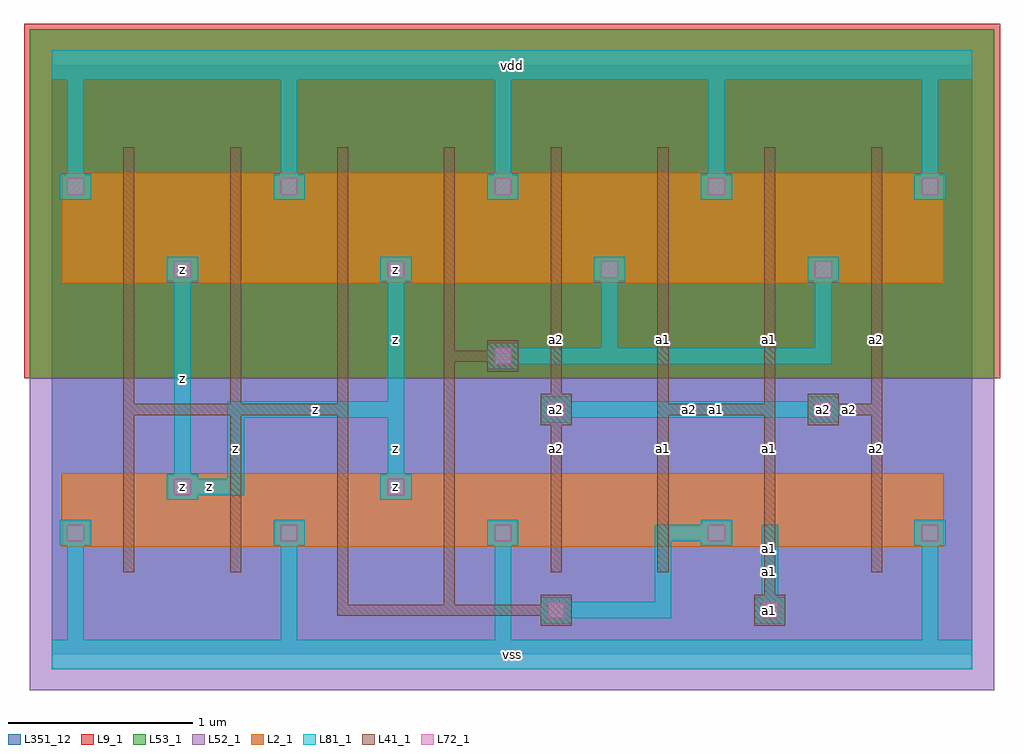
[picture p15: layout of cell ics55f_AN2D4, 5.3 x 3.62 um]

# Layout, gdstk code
import gdstk
lib = gdstk.Library(unit=1e-6, precision=1e-09)
def R(c, l, rs):  # rectangles x0, y0, x1, y1
    for r in rs: c.add(gdstk.rectangle(r[:2], r[2:], *l))
def A(c, l, x, y, w, h, nx, ny, dx, dy):  # array of equal rectangles
    R(c, l, [(x+i*dx, y+j*dy, x+i*dx+w, y+j*dy+h) for i in range(nx) for j in range(ny)])
def P(c, l, *ps):  # polygons
    for p in ps: c.add(gdstk.Polygon(p, *l))
L0_0 = (0, 0)
L2_1 = (2, 1)
L9_1 = (9, 1)
L41_1 = (41, 1)
L52_1 = (52, 1)
L53_1 = (53, 1)
L72_1 = (72, 1)
L81_1 = (81, 1)
L351_12 = (351, 12)

ics55f_an2d4 = lib.new_cell('ics55f_AN2D4')
A(ics55f_an2d4, L2_1, 0.055, 0.585, 0.73, 0.4, 8, 1, 0.58, 0)
A(ics55f_an2d4, L2_1, 0.055, 0.585, 0.15, 0.15, 5, 2, 1.16, 1.88)
A(ics55f_an2d4, L2_1, 0.055, 2.015, 0.73, 0.6, 8, 1, 0.58, 0)
A(ics55f_an2d4, L2_1, 0.635, 2.015, 0.15, 0.15, 4, 1, 1.16, 0)
R(ics55f_an2d4, L2_1, [(0.635,0.835,0.785,0.985), (1.795,0.835,1.945,0.985)])
R(ics55f_an2d4, L9_1, [(-0.15,1.5,5.15,3.425)])
A(ics55f_an2d4, L41_1, 0.39, 0.445, 0.06, 0.68, 8, 1, 0.58, 0)
A(ics55f_an2d4, L41_1, 2.71, 0.88, 0.06, 0.48, 4, 1, 0.58, 0)
A(ics55f_an2d4, L41_1, 0.39, 1.3, 0.06, 0.82, 3, 1, 0.58, 0)
A(ics55f_an2d4, L41_1, 2.71, 1.3, 0.06, 0.82, 4, 1, 0.58, 0)
A(ics55f_an2d4, L41_1, 0.39, 1.875, 0.06, 0.88, 8, 1, 0.58, 0)
R(ics55f_an2d4, L41_1, [(2.655,0.155,2.825,0.325), (3.815,0.155,3.985,0.325), (1.55,0.21,2.77,0.27), (1.55,0.21,1.61,1.36), (1.55,0.21,1.61,0.69), (2.13,0.21,2.19,0.69), (3.87,0.21,3.93,0.94), (2.13,0.63,2.19,2.12), (0.39,0.88,0.45,1.36), (0.97,0.88,1.03,1.36), (2.655,1.245,2.825,1.415), (4.105,1.245,4.275,1.415), (0.39,1.3,1.61,1.36), (3.29,1.3,3.93,1.36), (4.16,1.3,4.51,1.36), (2.365,1.535,2.535,1.705), (2.13,1.59,2.48,1.65)])
R(ics55f_an2d4, L52_1, [(-0.12,-0.195,5.12,1.5)])
R(ics55f_an2d4, L53_1, [(-0.12,1.5,5.12,3.395)])
A(ics55f_an2d4, L72_1, 0.085, 0.615, 0.09, 0.09, 5, 2, 1.16, 1.88)
A(ics55f_an2d4, L72_1, 0.665, 2.045, 0.09, 0.09, 4, 1, 1.16, 0)
R(ics55f_an2d4, L72_1, [(2.695,0.195,2.785,0.285), (3.855,0.195,3.945,0.285), (0.665,0.865,0.755,0.955), (1.825,0.865,1.915,0.955), (2.695,1.285,2.785,1.375), (4.145,1.285,4.235,1.375), (2.405,1.575,2.495,1.665)])
P(ics55f_an2d4, L81_1, [(3.815,0.17),(3.815,0.31),(3.855,0.31),(3.855,0.705),(3.945,0.705),(3.945,0.31),(3.985,0.31),(3.985,0.17)],
  [(2.655,0.17),(2.655,0.31),(2.825,0.31),(2.825,0.285),(3.275,0.285),(3.275,0.705),(3.525,0.705),(3.525,0.73),(3.695,0.73),(3.695,0.59),(3.525,0.59),(3.525,0.615),(3.365,0.615),(3.365,0.195),(2.825,0.195),(2.825,0.17)],
  [(0,-0.08),(0,0.08),(0.085,0.08),(0.085,0.59),(0.045,0.59),(0.045,0.73),(0.215,0.73),(0.215,0.59),(0.175,0.59),(0.175,0.08),(1.245,0.08),(1.245,0.59),(1.205,0.59),(1.205,0.73),(1.375,0.73),(1.375,0.59),(1.335,0.59),(1.335,0.08),(2.405,0.08),(2.405,0.59),(2.365,0.59),(2.365,0.73),(2.535,0.73),(2.535,0.59),(2.495,0.59),(2.495,0.08),(4.725,0.08),(4.725,0.59),(4.685,0.59),(4.685,0.73),(4.855,0.73),(4.855,0.59),(4.815,0.59),(4.815,0.08),(5,0.08),(5,-0.08)],
  [(2.655,1.26),(2.655,1.4),(2.825,1.4),(2.825,1.375),(4.105,1.375),(4.105,1.4),(4.275,1.4),(4.275,1.26),(4.105,1.26),(4.105,1.285),(2.825,1.285),(2.825,1.26)],
  [(0.625,0.84),(0.625,0.98),(0.665,0.98),(0.665,2.02),(0.625,2.02),(0.625,2.16),(0.795,2.16),(0.795,2.02),(0.755,2.02),(0.755,0.98),(0.795,0.98),(0.795,0.955),(0.955,0.955),(0.955,1.375),(1.825,1.375),(1.825,2.02),(1.785,2.02),(1.785,2.16),(1.955,2.16),(1.955,2.02),(1.915,2.02),(1.915,0.98),(1.955,0.98),(1.955,0.84),(1.785,0.84),(1.785,0.98),(1.825,0.98),(1.825,1.285),(1.045,1.285),(1.045,0.865),(0.795,0.865),(0.795,0.84)],
  [(2.365,1.55),(2.365,1.69),(2.535,1.69),(2.535,1.665),(2.985,1.665),(2.985,2.02),(2.945,2.02),(2.945,2.16),(3.115,2.16),(3.115,2.02),(3.075,2.02),(3.075,1.665),(4.145,1.665),(4.145,2.02),(4.105,2.02),(4.105,2.16),(4.275,2.16),(4.275,2.02),(4.235,2.02),(4.235,1.575),(2.535,1.575),(2.535,1.55)],
  [(0.045,2.47),(0.045,2.61),(0.085,2.61),(0.085,3.12),(0,3.12),(0,3.28),(5,3.28),(5,3.12),(4.815,3.12),(4.815,2.61),(4.855,2.61),(4.855,2.47),(4.685,2.47),(4.685,2.61),(4.725,2.61),(4.725,3.12),(3.655,3.12),(3.655,2.61),(3.695,2.61),(3.695,2.47),(3.525,2.47),(3.525,2.61),(3.565,2.61),(3.565,3.12),(2.495,3.12),(2.495,2.61),(2.535,2.61),(2.535,2.47),(2.365,2.47),(2.365,2.61),(2.405,2.61),(2.405,3.12),(1.335,3.12),(1.335,2.61),(1.375,2.61),(1.375,2.47),(1.205,2.47),(1.205,2.61),(1.245,2.61),(1.245,3.12),(0.175,3.12),(0.175,2.61),(0.215,2.61),(0.215,2.47)])
R(ics55f_an2d4, L351_12, [(0,0,5,3.2)])
ics55f_an2d4.add(gdstk.FlexPath([(0.045,0.24),(4.855,0.24)], 0, ends="flush", simple_path=True, layer=0, datatype=0))  # L0_0
ics55f_an2d4.add(gdstk.FlexPath([(0.045,0.66),(4.855,0.66)], 0, ends="flush", simple_path=True, layer=0, datatype=0))  # L0_0
ics55f_an2d4.add(gdstk.FlexPath([(0.045,0.91),(4.855,0.91)], 0, ends="flush", simple_path=True, layer=0, datatype=0))  # L0_0
ics55f_an2d4.add(gdstk.FlexPath([(0.045,1.33),(4.855,1.33)], 0, ends="flush", simple_path=True, layer=0, datatype=0))  # L0_0
ics55f_an2d4.add(gdstk.FlexPath([(0.045,1.62),(4.855,1.62)], 0, ends="flush", simple_path=True, layer=0, datatype=0))  # L0_0
ics55f_an2d4.add(gdstk.FlexPath([(0.045,2.09),(4.855,2.09)], 0, ends="flush", simple_path=True, layer=0, datatype=0))  # L0_0
ics55f_an2d4.add(gdstk.FlexPath([(0.045,2.54),(4.855,2.54)], 0, ends="flush", simple_path=True, layer=0, datatype=0))  # L0_0
ics55f_an2d4.add(gdstk.FlexPath([(0.045,2.96),(4.855,2.96)], 0, ends="flush", simple_path=True, layer=0, datatype=0))  # L0_0
ics55f_an2d4.add(gdstk.FlexPath([(0.13,0.03),(0.13,3.17)], 0, ends="flush", simple_path=True, layer=0, datatype=0))  # L0_0
ics55f_an2d4.add(gdstk.FlexPath([(0.42,0.03),(0.42,3.17)], 0, ends="flush", simple_path=True, layer=0, datatype=0))  # L0_0
ics55f_an2d4.add(gdstk.FlexPath([(0.71,0.03),(0.71,3.17)], 0, ends="flush", simple_path=True, layer=0, datatype=0))  # L0_0
ics55f_an2d4.add(gdstk.FlexPath([(1,0.03),(1,3.17)], 0, ends="flush", simple_path=True, layer=0, datatype=0))  # L0_0
ics55f_an2d4.add(gdstk.FlexPath([(1.29,0.03),(1.29,3.17)], 0, ends="flush", simple_path=True, layer=0, datatype=0))  # L0_0
ics55f_an2d4.add(gdstk.FlexPath([(1.58,0.03),(1.58,3.17)], 0, ends="flush", simple_path=True, layer=0, datatype=0))  # L0_0
ics55f_an2d4.add(gdstk.FlexPath([(1.87,0.03),(1.87,3.17)], 0, ends="flush", simple_path=True, layer=0, datatype=0))  # L0_0
ics55f_an2d4.add(gdstk.FlexPath([(2.16,0.03),(2.16,3.17)], 0, ends="flush", simple_path=True, layer=0, datatype=0))  # L0_0
ics55f_an2d4.add(gdstk.FlexPath([(2.45,0.03),(2.45,3.17)], 0, ends="flush", simple_path=True, layer=0, datatype=0))  # L0_0
ics55f_an2d4.add(gdstk.FlexPath([(2.74,0.03),(2.74,3.17)], 0, ends="flush", simple_path=True, layer=0, datatype=0))  # L0_0
ics55f_an2d4.add(gdstk.FlexPath([(3.03,0.03),(3.03,3.17)], 0, ends="flush", simple_path=True, layer=0, datatype=0))  # L0_0
ics55f_an2d4.add(gdstk.FlexPath([(3.32,0.03),(3.32,3.17)], 0, ends="flush", simple_path=True, layer=0, datatype=0))  # L0_0
ics55f_an2d4.add(gdstk.FlexPath([(3.61,0.03),(3.61,3.17)], 0, ends="flush", simple_path=True, layer=0, datatype=0))  # L0_0
ics55f_an2d4.add(gdstk.FlexPath([(3.9,0.03),(3.9,3.17)], 0, ends="flush", simple_path=True, layer=0, datatype=0))  # L0_0
ics55f_an2d4.add(gdstk.FlexPath([(4.19,0.03),(4.19,3.17)], 0, ends="flush", simple_path=True, layer=0, datatype=0))  # L0_0
ics55f_an2d4.add(gdstk.FlexPath([(4.48,0.03),(4.48,3.17)], 0, ends="flush", simple_path=True, layer=0, datatype=0))  # L0_0
ics55f_an2d4.add(gdstk.FlexPath([(4.77,0.03),(4.77,3.17)], 0, ends="flush", simple_path=True, layer=0, datatype=0))  # L0_0
ics55f_an2d4.add(gdstk.Label('z', (0.71,0.91), layer=2, texttype=1))
ics55f_an2d4.add(gdstk.Label('z', (1.87,0.91), layer=2, texttype=1))
ics55f_an2d4.add(gdstk.Label('z', (1.87,2.09), layer=2, texttype=1))
ics55f_an2d4.add(gdstk.Label('z', (0.71,2.09), layer=2, texttype=1))
ics55f_an2d4.add(gdstk.Label('a1', (3.9,1.12), layer=41, texttype=1))
ics55f_an2d4.add(gdstk.Label('a1', (3.61,1.33), layer=41, texttype=1))
ics55f_an2d4.add(gdstk.Label('a1', (3.32,1.12), layer=41, texttype=1))
ics55f_an2d4.add(gdstk.Label('a1', (3.9,1.71), layer=41, texttype=1))
ics55f_an2d4.add(gdstk.Label('a1', (3.32,1.71), layer=41, texttype=1))
ics55f_an2d4.add(gdstk.Label('a1', (3.9,0.575), layer=41, texttype=1))
ics55f_an2d4.add(gdstk.Label('a1', (3.9,0.24), layer=41, texttype=1))
ics55f_an2d4.add(gdstk.Label('a2', (4.48,1.12), layer=41, texttype=1))
ics55f_an2d4.add(gdstk.Label('a2', (4.335,1.33), layer=41, texttype=1))
ics55f_an2d4.add(gdstk.Label('a2', (4.19,1.33), layer=41, texttype=1))
ics55f_an2d4.add(gdstk.Label('a2', (2.74,1.33), layer=41, texttype=1))
ics55f_an2d4.add(gdstk.Label('a2', (2.74,1.12), layer=41, texttype=1))
ics55f_an2d4.add(gdstk.Label('a2', (4.48,1.71), layer=41, texttype=1))
ics55f_an2d4.add(gdstk.Label('a2', (2.74,1.71), layer=41, texttype=1))
ics55f_an2d4.add(gdstk.Label('a1', (3.9,0.24), layer=72, texttype=1))
ics55f_an2d4.add(gdstk.Label('z', (0.71,0.91), layer=72, texttype=1))
ics55f_an2d4.add(gdstk.Label('z', (1.87,0.91), layer=72, texttype=1))
ics55f_an2d4.add(gdstk.Label('z', (1.87,2.09), layer=72, texttype=1))
ics55f_an2d4.add(gdstk.Label('z', (0.71,2.09), layer=72, texttype=1))
ics55f_an2d4.add(gdstk.Label('a2', (4.19,1.33), layer=72, texttype=1))
ics55f_an2d4.add(gdstk.Label('a2', (2.74,1.33), layer=72, texttype=1))
ics55f_an2d4.add(gdstk.Label('a1', (3.9,0.24), layer=81, texttype=6))
ics55f_an2d4.add(gdstk.Label('a1', (3.9,0.45), layer=81, texttype=6))
ics55f_an2d4.add(gdstk.Label('z', (0.71,0.91), layer=81, texttype=6))
ics55f_an2d4.add(gdstk.Label('z', (1.87,0.91), layer=81, texttype=6))
ics55f_an2d4.add(gdstk.Label('z', (1.87,2.09), layer=81, texttype=6))
ics55f_an2d4.add(gdstk.Label('z', (0.71,2.09), layer=81, texttype=6))
ics55f_an2d4.add(gdstk.Label('z', (0.855,0.91), layer=81, texttype=6))
ics55f_an2d4.add(gdstk.Label('z', (1,1.12), layer=81, texttype=6))
ics55f_an2d4.add(gdstk.Label('z', (1.435,1.33), layer=81, texttype=6))
ics55f_an2d4.add(gdstk.Label('z', (1.87,1.12), layer=81, texttype=6))
ics55f_an2d4.add(gdstk.Label('z', (1.87,1.71), layer=81, texttype=6))
ics55f_an2d4.add(gdstk.Label('z', (0.71,1.5), layer=81, texttype=6))
ics55f_an2d4.add(gdstk.Label('a2', (4.19,1.33), layer=81, texttype=6))
ics55f_an2d4.add(gdstk.Label('a2', (3.465,1.33), layer=81, texttype=6))
ics55f_an2d4.add(gdstk.Label('a2', (2.74,1.33), layer=81, texttype=6))
ics55f_an2d4.add(gdstk.Label('vss', (2.5,0), layer=81, texttype=6))
ics55f_an2d4.add(gdstk.Label('vdd', (2.5,3.2), layer=81, texttype=6))

lib.write_gds('ics55f_AN2D4.gds')
